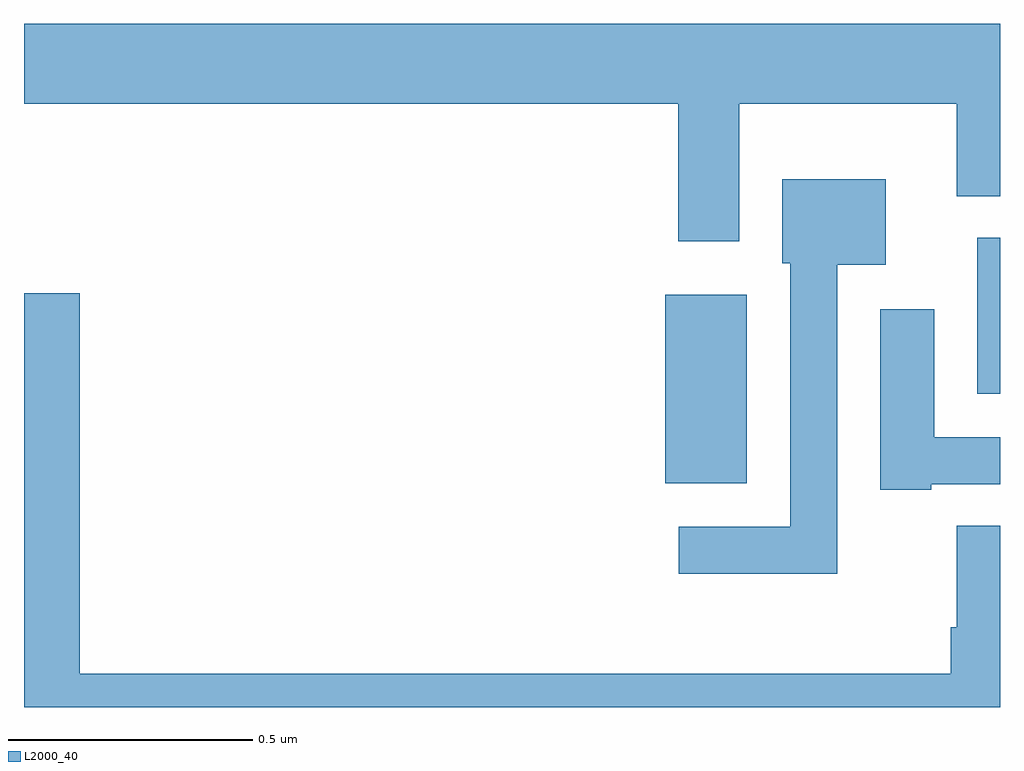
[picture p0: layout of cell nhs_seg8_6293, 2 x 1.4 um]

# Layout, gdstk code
import gdstk
lib = gdstk.Library(unit=1e-6, precision=1e-09)
def R(c, l, rs):  # rectangles x0, y0, x1, y1
    for r in rs: c.add(gdstk.rectangle(r[:2], r[2:], *l))
def P(c, l, *ps):  # polygons
    for p in ps: c.add(gdstk.Polygon(p, *l))
L2000_40 = (2000, 40)

nhs_seg8_6293 = lib.new_cell('nhs_seg8_6293')
R(nhs_seg8_6293, L2000_40, [(195.314,1146.359,195.481,1146.745), (195.953,1146.542,196,1146.862)])
P(nhs_seg8_6293, L2000_40, [(195.466,1147.136),(195.911,1147.136),(195.911,1146.947),(196,1146.947),(196,1147.3),(194,1147.3),(194,1147.136),(195.341,1147.136),(195.341,1146.855),(195.466,1146.855)],
  [(195.666,1146.806),(195.766,1146.806),(195.766,1146.982),(195.554,1146.982),(195.554,1146.81),(195.57,1146.81),(195.57,1146.27),(195.342,1146.27),(195.342,1146.173),(195.666,1146.173)],
  [(196,1146.272),(195.911,1146.272),(195.911,1146.064),(195.899,1146.064),(195.899,1145.968),(194.114,1145.968),(194.114,1146.748),(194,1146.748),(194,1145.9),(196,1145.9)],
  [(195.859,1146.357),(196,1146.357),(196,1146.453),(195.865,1146.453),(195.865,1146.715),(195.755,1146.715),(195.755,1146.345),(195.859,1146.345)])

lib.write_gds('nhs_seg8_6293.gds')
